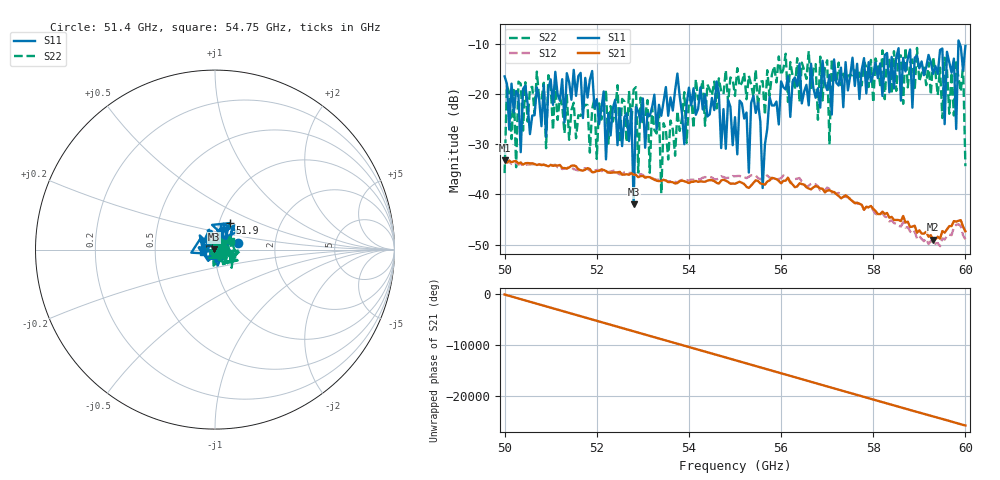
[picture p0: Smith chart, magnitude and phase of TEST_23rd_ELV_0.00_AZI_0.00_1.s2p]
! 11/23/2026 3:02:54 PM
! C:\ANRITSUVNA\TEMP\TEMP.S2P
! CHANNEL.1
! TR.MEASUREMENT
! RAW.DATA
# HZ S RI R 50.0
! FREQ.HZ  S11RE  S11IM  S21RE  S21IM  S12RE  S12IM  S22RE  S22IM
!; PortSelection: Port_12
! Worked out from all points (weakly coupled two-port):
!   201 points, 50 GHz to 60 GHz, reference 50 ohm
!   highest |S21| = -33.19 dB at 50 GHz (marker M1); lowest = -49.0 dB at 59.3 GHz (marker M2)
!   lowest |S11| = -42.0 dB at 52.8 GHz (marker M3), VSWR 1.02, Z = 49.3 + j0.264 ohm
!   |S11| at or under -10 dB: start of sweep to 59.85 GHz; 59.87501 GHz to end of sweep
!   |S22| runs from -39.8 to -10.8 dB; largest |S21 - S12| = 0.033
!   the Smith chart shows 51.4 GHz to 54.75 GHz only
!   S11 on the Smith chart (normalised r, x): 51.4 GHz: 1.29, +0.09; 51.9 GHz: 1.12, +0.34; 54.75 GHz: 0.87, -0.03
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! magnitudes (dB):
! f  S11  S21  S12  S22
! 50 GHz  -16.5  -33.2  -33.3  -35.8
! 50.05 GHz  -18.0  -33.6  -33.7  -18.4
! 51.4 GHz  -17.6  -34.7  -34.5  -29.1
! 51.7 GHz  -24.8  -35.3  -34.8  -22.9
! 51.9 GHz  -15.4  -35.6  -35.6  -23.0
! 52.75 GHz  -23.0  -35.8  -35.7  -26.0
! 52.8 GHz  -42.0  -36.1  -36.0  -19.1
! 52.85 GHz  -22.6  -36.1  -35.8  -18.7
! 52.9 GHz  -23.4  -36.6  -36.2  -35.7
! 53.35 GHz  -22.2  -37.4  -37.0  -23.6
! 53.4 GHz  -24.4  -37.3  -37.0  -39.8
! 54.75 GHz  -23.0  -37.1  -36.5  -20.1
! 55 GHz  -24.6  -37.9  -36.4  -20.4
! 55.6 GHz  -38.7  -37.9  -36.7  -17.5
! 55.75 GHz  -20.6  -37.2  -36.7  -20.4
! 56.7 GHz  -18.8  -38.6  -37.9  -15.1
! 57.05 GHz  -16.2  -39.1  -38.9  -30.1
! 57.1 GHz  -24.1  -39.4  -39.6  -13.0
! 58.35 GHz  -19.7  -44.6  -45.4  -13.2
! 59.3 GHz  -16.0  -49.0  -49.9  -12.7
! 59.95 GHz  -15.3  -46.4  -48.1  -14.1
! 60 GHz  -10.5  -47.3  -48.9  -34.4
